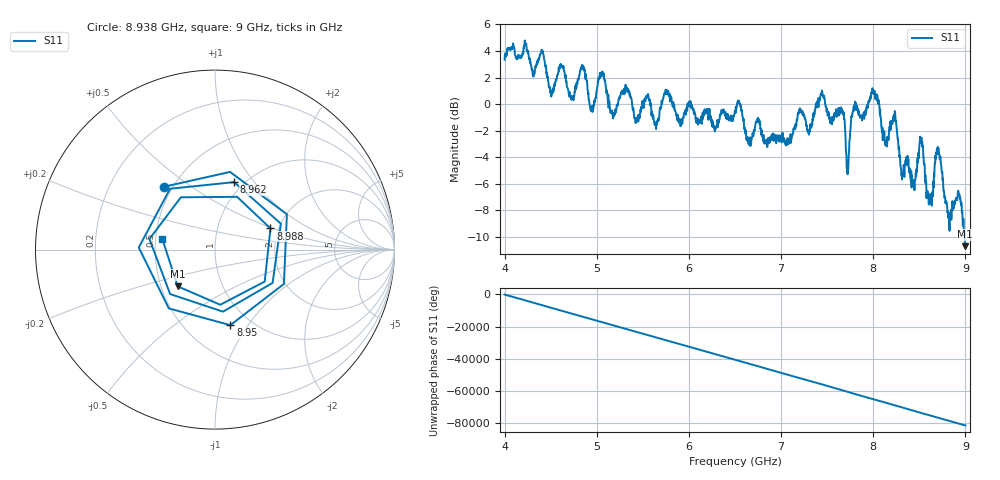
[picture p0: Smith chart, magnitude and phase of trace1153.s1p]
! Created with skrf 1.8.0 (http://scikit-rf.org).
# Hz S RI R 50.0
!freq ReS11 ImS11
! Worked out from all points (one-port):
!   1601 points, 4 GHz to 9 GHz, reference 50 ohm
!   lowest |S11| = -10.7 dB at 8.997 GHz (marker M1), VSWR 1.82, Z = 30.5 - j13.6 ohm
!   |S11| at or under -10 dB: 8.992879 GHz to end of sweep
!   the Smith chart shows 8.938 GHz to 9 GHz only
!   S11 on the Smith chart (normalised r, x): 8.938 GHz: 0.45, +0.40; 8.95 GHz: 0.80, -0.83; 8.962 GHz: 0.90, +0.80; 8.988 GHz: 1.81, +0.48; 9 GHz: 0.54, +0.07
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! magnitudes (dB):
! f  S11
! 4 GHz  3.3
! 4.406 GHz  4.1
! 4.509 GHz  0.8
! 4.625 GHz  2.8
! 4.725 GHz  0.3
! 4.85 GHz  2.9
! 4.944 GHz  -0.5
! 5.05 GHz  2.3
! 5.169 GHz  -0.8
! 5.25 GHz  0.4
! 5.875 GHz  -0.8
! 6.5 GHz  -0.6
! 7.125 GHz  -2.3
! 7.447 GHz  0.9
! 7.75 GHz  -2.0
! 8.003 GHz  1.0
! 8.375 GHz  -4.0
! 8.441 GHz  -5.7
! 8.522 GHz  -2.6
! 8.616 GHz  -7.1
! 8.706 GHz  -3.4
! 8.825 GHz  -9.2
! 8.938 GHz  -6.9
! 8.95 GHz  -7.3
! 8.962 GHz  -8.2
! 8.988 GHz  -9.6
! 8.997 GHz  -10.7
! 9 GHz  -10.5
